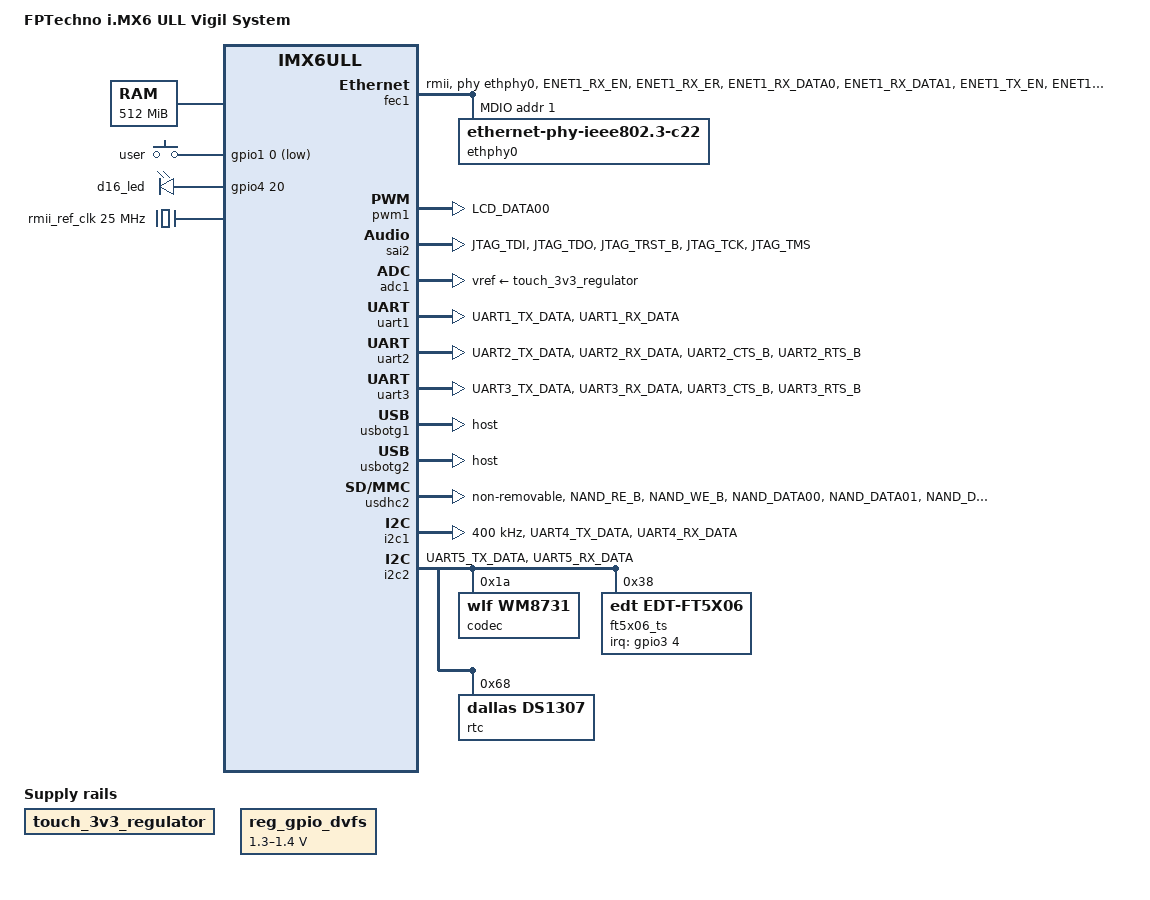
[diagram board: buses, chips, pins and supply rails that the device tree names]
/* 
 * Copyright (C) 2018 Amotus Solutions, Inc.
 */

/dts-v1/;

#include <dt-bindings/input/input.h>
#include "imx6ull.dtsi"

/ {
	model = "FPTechno i.MX6 ULL Vigil System";
	compatible = "fptechno,imx6ull-vigil", "fsl,imx6ull";

	chosen {
		stdout-path = &uart1;
	};

	memory {
		reg = <0x80000000 0x20000000>;
	};

	regulators {
		compatible = "simple-bus";
		#address-cells = <1>;
		#size-cells = <0>;

		touch_3v3_regulator: touch_3v3_regulator {
			compatible = "regulator-fixed";
			regulator-name = "touch_3v3_supply";
			regulator-always-on;
			status = "okay";
		};

		reg_gpio_dvfs: regulator-gpio {
			compatible = "regulator-gpio";
			regulator-min-microvolt = <1300000>;
			regulator-max-microvolt = <1400000>;
			regulator-name = "gpio_dvfs";
			regulator-type = "voltage";
			gpios = <&gpio4 13 GPIO_ACTIVE_HIGH>;
			states = <1300000 0x1 1400000 0x0>;
		};
	};

	sound: sound {
		compatible = "fsl,imx-audio-wm8731";
		model = "wm8731-audio";
		cpu-dai = <&sai2>;
		audio-codec = <&codec>;
		audio-routing =
			"Headphone Jack", "LHPOUT",
			"Headphone Jack", "RHPOUT",
			"LLINEIN", "Line Jack",
			"RLINEIN", "Line Jack";
	};

	keys {
		compatible = "gpio-keys";
		user {
			gpios = <&gpio1 0 GPIO_ACTIVE_LOW>;
			pinctrl-names = "default";
			pinctrl-0 = <&pinctrl_btn>;
			linux,code = <KEY_BACK>;
			gpio-key,wakeup;
		};
	};

	leds {
		compatible = "gpio-leds";
		d16_led {
			gpios = <&gpio4 20 GPIO_ACTIVE_HIGH>;
			pinctrl-names = "default";
			pinctrl-0 = <&pinctrl_led>;
			linux,default-trigger = "heartbeat";
		};
	};
};

&clks {
	assigned-clocks = <&clks IMX6UL_CLK_PLL4_POST_DIV>;
	assigned-clock-rates = <812851200>;
};

&clks {
	/* ref_clk for micrel ethernet phy */
	rmii_ref_clk: rmii_ref_clk_grp {
		compatible = "fixed-clock";
		#clock-cells = <0>;
		clock-frequency = <25000000>;
		clock-output-names = "rmii-ref";
	};
};

&fec1 {
	pinctrl-names = "default";
	pinctrl-0 = <&pinctrl_enet1 &pinctrl_enet1_rst &pinctrl_enet1_mdio>;
	phy-mode = "rmii";
	phy-reset-gpios = <&gpio5 0 GPIO_ACTIVE_LOW>;
	phy-reset-duration = <100>;
	phy-handle = <&ethphy0>;
	status = "okay";

	mdio {
		#address-cells = <1>;
		#size-cells = <0>;

		ethphy0: ethernet-phy@1 {
			compatible = "ethernet-phy-ieee802.3-c22";
			micrel,rmii-reference-clock-select-25-mhz;
			clocks = <&rmii_ref_clk>;
			clock-names = "rmii-ref";
			reg = <1>;
		};
	};
};

&fec2 {
	status = "disabled";
};

&pwm1 {
	pinctrl-names = "default";
	pinctrl-0 = <&pinctrl_pwm1>;
	status = "okay";
};

&sai2 {
	pinctrl-names = "default";
	pinctrl-0 = <&pinctrl_sai2>;
	assigned-clocks = <&clks IMX6UL_CLK_SAI2_SEL>, <&clks IMX6UL_CLK_SAI2>;
	assigned-clock-parents = <&clks IMX6UL_CLK_PLL4_AUDIO_DIV>;
	assigned-clock-rates = <0>, <11289600>;
	status = "okay";
};

&adc1 {
	vref-supply = <&touch_3v3_regulator>;
	status = "okay";
};

/* debug uart */
&uart1 {
	pinctrl-names = "default";
	pinctrl-0 = <&pinctrl_uart1>;
	status = "okay";
};

/* bluetooth uart */
&uart2 {
	pinctrl-names = "default";
	pinctrl-0 = <&pinctrl_uart2>;
	fsl,uart-has-rtscts;
	status = "okay";
};

/* ttymxc2 uart */
&uart3 {
	pinctrl-names = "default";
	pinctrl-0 = <&pinctrl_uart3>;
	fsl,uart-has-rtscts;
	status = "okay";
};

&wdog1 {
	pinctrl-names = "default";
	pinctrl-0 = <&pinctrl_wdog>;
	fsl,ext-reset-output;
};

&usbotg1 {
	/* MFE: otg ? */
	dr_mode = "host";
	disable-over-current;
	status = "okay";
};

&usbotg2 {
	dr_mode = "host";
	disable-over-current;
	status = "okay";
};

/* EMMC */
&usdhc2 {
	pinctrl-names = "default";
	pinctrl-0 = <&pinctrl_usdhc2>;
	no-1-8-v;
	non-removable;
	keep-power-in-suspend;
	enable-sdio-wakeup;
	status = "okay";
};

&i2c1 {
	clock-frequency = <400000>;
	pinctrl-names = "default";
	pinctrl-0 = <&pinctrl_i2c1>;
	status = "okay";
};

&i2c2 {
	clock_frequency = <100000>;
	pinctrl-names = "default";
	pinctrl-0 = <&pinctrl_i2c2>;
	status = "okay";

	codec: wm8731@1a {
		compatible = "wlf,wm8731";
		reg = <0x1a>;
		clocks = <&clks IMX6UL_CLK_SAI2>;
		clock-names = "mclk";
	};

	ft5x06_ts@38 {
		compatible = "edt,edt-ft5x06";
		reg = <0x38>;
		interrupt-parent = <&gpio3>;
		interrupts = <4 0>;
		touchscreen-size-x = <800>;
		touchscreen-size-y = <480>;
		touchscreen-inverted-x;
		touchscreen-inverted-y;
	};

	/* DS1307 RTC module */
	rtc@68 {
		compatible = "dallas,ds1307";
		reg = <0x68>;
	};
};

&snvs_rtc {
	status = "disabled";
};

&iomuxc {
	pinctrl_led: ledgrp {
		fsl,pins = <
		MX6UL_PAD_CSI_HSYNC__GPIO4_IO20		0x1b0b0
		>;
	};

	pinctrl_btn: btngrp {
		fsl,pins = <
		MX6UL_PAD_GPIO1_IO00__GPIO1_IO00	0x17059
		>;
	};

	pinctrl_enet1: enet1grp {
		fsl,pins = <
		MX6UL_PAD_ENET1_RX_EN__ENET1_RX_EN	0x1b0b0
		MX6UL_PAD_ENET1_RX_ER__ENET1_RX_ER	0x1b0b0
		MX6UL_PAD_ENET1_RX_DATA0__ENET1_RDATA00	0x1b0b0
		MX6UL_PAD_ENET1_RX_DATA1__ENET1_RDATA01	0x1b0b0
		MX6UL_PAD_ENET1_TX_EN__ENET1_TX_EN	0x1b0b0
		MX6UL_PAD_ENET1_TX_DATA0__ENET1_TDATA00	0x1b0b0
		MX6UL_PAD_ENET1_TX_DATA1__ENET1_TDATA01	0x1b0b0
		MX6UL_PAD_ENET1_TX_CLK__ENET1_REF_CLK1	0x4001b031
		>;
	};

	pinctrl_enet1_mdio: enet1-mdiogrp {
		fsl,pins = <
		MX6UL_PAD_GPIO1_IO07__ENET1_MDC		0x1b0b0
		MX6UL_PAD_GPIO1_IO06__ENET1_MDIO	0x1b0b0
		>;
	};

	/*
	 * There is a pin conflict between fec1 and fec2, both use the
	 * GPIO1_IO06 and GPIO1_IO07 pins for MDIO and MDC (resp.). Specify
	 * them only for ENET1 (fec1) to workaround the issue.
	 */

	pinctrl_can1: can1grp{
		fsl,pins = <
		MX6UL_PAD_LCD_DATA09__FLEXCAN1_RX	0x1b020
		MX6UL_PAD_LCD_DATA08__FLEXCAN1_TX	0x1b020
		>;
	};

	pinctrl_can2: can2grp{
		fsl,pins = <
		MX6UL_PAD_UART2_RTS_B__FLEXCAN2_RX	0x1b020
		MX6UL_PAD_UART2_CTS_B__FLEXCAN2_TX	0x1b020
		>;
	};

	pinctrl_pwm1: pwm1grp {
		fsl,pins = <
		MX6UL_PAD_LCD_DATA00__PWM1_OUT		0x110b0
		>;
	};

	pinctrl_uart1: uart1grp {
		fsl,pins = <
		MX6UL_PAD_UART1_TX_DATA__UART1_DCE_TX	0x1b0b1
		MX6UL_PAD_UART1_RX_DATA__UART1_DCE_RX	0x1b0b1
		>;
	};

	pinctrl_uart2: uart2grp {
		fsl,pins = <
		MX6UL_PAD_UART2_TX_DATA__UART2_DCE_TX	0x1b0b1
		MX6UL_PAD_UART2_RX_DATA__UART2_DCE_RX	0x1b0b1
		MX6UL_PAD_UART2_CTS_B__UART2_DCE_CTS	0x1b0b1
		MX6UL_PAD_UART2_RTS_B__UART2_DCE_RTS	0x1b0b1
		>;
	};

	pinctrl_uart3: uart3grp {
		fsl,pins = <
		MX6UL_PAD_UART3_TX_DATA__UART3_DCE_TX	0x1b0b1
		MX6UL_PAD_UART3_RX_DATA__UART3_DCE_RX	0x1b0b1
		MX6UL_PAD_UART3_CTS_B__UART3_DCE_CTS	0x1b0b1
		MX6UL_PAD_UART3_RTS_B__UART3_DCE_RTS	0x1b0b1
		>;
	};

	pinctrl_usdhc1: usdhc1grp {
		fsl,pins = <
		MX6UL_PAD_SD1_CMD__USDHC1_CMD		0x17059
		MX6UL_PAD_SD1_CLK__USDHC1_CLK		0x17059
		MX6UL_PAD_SD1_DATA0__USDHC1_DATA0	0x17059
		MX6UL_PAD_SD1_DATA1__USDHC1_DATA1	0x17059
		MX6UL_PAD_SD1_DATA2__USDHC1_DATA2	0x17059
		MX6UL_PAD_SD1_DATA3__USDHC1_DATA3	0x17059
		>;
	};

	pinctrl_usdhc1_100mhz: usdhc1grp100mhz {
		fsl,pins = <
		MX6UL_PAD_SD1_CMD__USDHC1_CMD		0x170b9
		MX6UL_PAD_SD1_CLK__USDHC1_CLK		0x100b9
		MX6UL_PAD_SD1_DATA0__USDHC1_DATA0	0x170b9
		MX6UL_PAD_SD1_DATA1__USDHC1_DATA1	0x170b9
		MX6UL_PAD_SD1_DATA2__USDHC1_DATA2	0x170b9
		MX6UL_PAD_SD1_DATA3__USDHC1_DATA3	0x170b9
		>;
	};

	pinctrl_usdhc1_200mhz: usdhc1grp200mhz {
		fsl,pins = <
		MX6UL_PAD_SD1_CMD__USDHC1_CMD		0x170f9
		MX6UL_PAD_SD1_CLK__USDHC1_CLK		0x100f9
		MX6UL_PAD_SD1_DATA0__USDHC1_DATA0	0x170f9
		MX6UL_PAD_SD1_DATA1__USDHC1_DATA1	0x170f9
		MX6UL_PAD_SD1_DATA2__USDHC1_DATA2	0x170f9
		MX6UL_PAD_SD1_DATA3__USDHC1_DATA3	0x170f9
		>;
	};

	pinctrl_usdhc2: usdhc2grp {
		fsl,pins = <
		MX6UL_PAD_NAND_RE_B__USDHC2_CLK		0x17059
		MX6UL_PAD_NAND_WE_B__USDHC2_CMD		0x17059
		MX6UL_PAD_NAND_DATA00__USDHC2_DATA0	0x17059
		MX6UL_PAD_NAND_DATA01__USDHC2_DATA1	0x17059
		MX6UL_PAD_NAND_DATA02__USDHC2_DATA2	0x17059
		MX6UL_PAD_NAND_DATA03__USDHC2_DATA3	0x17059
		>;
	};

	pinctrl_i2c1: i2c1grp {
		fsl,pins = <
		MX6UL_PAD_UART4_TX_DATA__I2C1_SCL	0x4001b8b0
		MX6UL_PAD_UART4_RX_DATA__I2C1_SDA	0x4001b8b0
		>;
	};

	pinctrl_i2c2: i2c2grp {
		fsl,pins = <
		MX6UL_PAD_UART5_TX_DATA__I2C2_SCL	0x4001b8b0
		MX6UL_PAD_UART5_RX_DATA__I2C2_SDA	0x4001b8b0
		>;
	};

	pinctrl_sai2: sai2grp {
		fsl,pins = <
		MX6UL_PAD_JTAG_TDI__SAI2_TX_BCLK	0x17088
		MX6UL_PAD_JTAG_TDO__SAI2_TX_SYNC	0x17088
		MX6UL_PAD_JTAG_TRST_B__SAI2_TX_DATA	0x11088
		MX6UL_PAD_JTAG_TCK__SAI2_RX_DATA	0x11088
		MX6UL_PAD_JTAG_TMS__CCM_CLKO1		0x17088
		>;
	};

	pinctrl_wdog: wdoggrp {
		fsl,pins = <
		MX6UL_PAD_GPIO1_IO08__WDOG1_WDOG_B	0x78b0
		>;
	};
};

&iomuxc_snvs {
	pinctrl_enet1_rst: enet1-rst-grp {
		fsl,pins = <
		MX6ULL_PAD_SNVS_TAMPER0__GPIO5_IO00	0x1b0b0
		>;
	};
};
